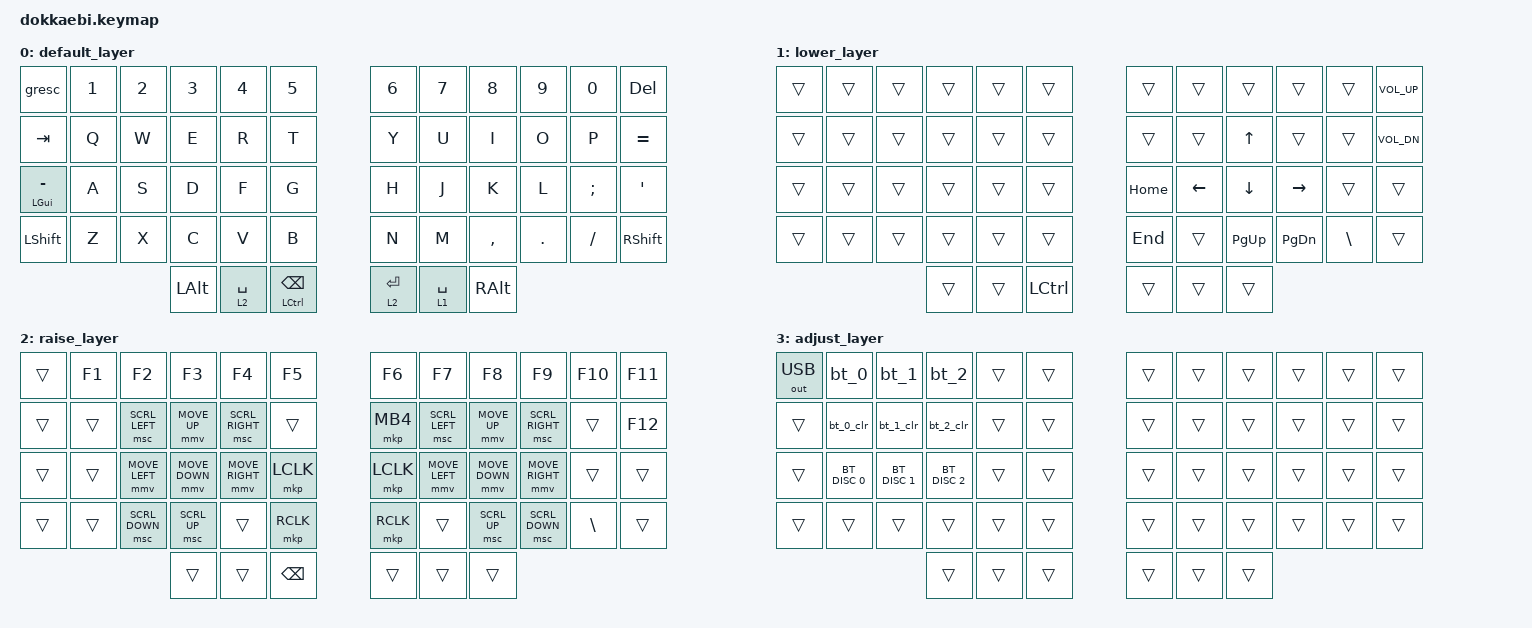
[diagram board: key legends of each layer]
#include <behaviors.dtsi>
#include <dt-bindings/zmk/keys.h>
#include <dt-bindings/zmk/bt.h>
#include <dt-bindings/zmk/ext_power.h>
#include <dt-bindings/zmk/outputs.h>
#include <dt-bindings/zmk/pointing.h>

&mt {
    tapping-term-ms = <175>;
};

&lt {
    tapping-term-ms = <175>;
};

/ {
    combos {
        compatible = "zmk,combos";
        combo_lbrc {
            timeout-ms = <50>;
            key-positions = <24 25>;
            bindings = <&kp LBKT>;
        };
        combo_rbrc {
            timeout-ms = <50>;
            key-positions = <36 37>;
            bindings = <&kp RBKT>;
        };
        combo_home {
            timeout-ms = <50>;
            key-positions = <30 31>;
            bindings = <&kp HOME>;
        };
        combo_end {
            timeout-ms = <50>;
            key-positions = <42 43>;
            bindings = <&kp END>;
        };
        combo_pgup {
            timeout-ms = <50>;
            key-positions = <34 35>;
            bindings = <&kp PG_UP>;
        };
        combo_pgdn {
            timeout-ms = <50>;
            key-positions = <46 47>;
            bindings = <&kp PG_DN>;
        };
        combo_lt2 {
            timeout-ms = <50>;
            key-positions = <48 49 50>;
            bindings = <&mo 3>;
        };
    };

    behaviors {
        gresc: grave_escape {
            compatible = "zmk,behavior-mod-morph";
            label = "GRAVE_ESCAPE";
            #binding-cells = <0>;
            bindings = <&kp ESC>, <&kp GRAVE>;
            mods = <(MOD_LGUI|MOD_LSFT|MOD_RGUI|MOD_RSFT|MOD_RALT)>;
            keep-mods = <(MOD_RSFT)>;
        };
        td_ralt_to1: tap_dance_ralt_to_layer_1 {
            compatible = "zmk,behavior-tap-dance";
            label = "TAP_DANCE_RALT_TO_LAYER_1";
            #binding-cells = <0>;
            tapping-term-ms = <150>;
            bindings = <&kp RALT>, <&to 1>;
        };
        td_rctrl_to0: tap_dance_rctrl_to_layer_0 {
            compatible = "zmk,behavior-tap-dance";
            label = "TAP_DANCE_RCTRL_TO_LAYER_0";
            #binding-cells = <0>;
            tapping-term-ms = <150>;
            bindings = <&kp RCTL>, <&to 0>;
        };
        ht_tp: holdtap_tappreferred {
            compatible = "zmk,behavior-hold-tap";
            #binding-cells = <2>;
            flavor = "tap-preferred";
            tapping-term-ms = <175>;
            quick-tap-ms = <155>;
            bindings = <&kp>, <&kp>;
        };
        ht_hp: holdtap_holdpreferred {
            compatible = "zmk,behavior-hold-tap";
            #binding-cells = <2>;
            flavor = "hold-preferred";
            tapping-term-ms = <175>;
            quick-tap-ms = <155>;
            bindings = <&kp>, <&kp>;
        };
        ht_bl: holdtap_balanced {
            compatible = "zmk,behavior-hold-tap";
            #binding-cells = <2>;
            flavor = "balanced";
            tapping-term-ms = <175>;
            quick-tap-ms = <155>;
            bindings = <&kp>, <&kp>;
        };
    };

    macros {
        bt_0: bt_profile_macro_0 {
            label = "BT_0";
            compatible = "zmk,behavior-macro";
            #binding-cells = <0>;
            bindings
                = <&out OUT_BLE>
                , <&bt BT_SEL 0>;
        };

        bt_1: bt_profile_macro_1 {
            label = "BT_1";
            compatible = "zmk,behavior-macro";
            #binding-cells = <0>;
            bindings
                = <&out OUT_BLE>
                , <&bt BT_SEL 1>;
        };
        
        bt_2: bt_profile_macro_2 {
            label = "BT_2";
            compatible = "zmk,behavior-macro";
            #binding-cells = <0>;
            bindings
                = <&out OUT_BLE>
                , <&bt BT_SEL 2>;
        };

        select_usb: usb_profile_macro {
            label = "SELECT_USB";
            compatible = "zmk,behavior-macro";
            #binding-cells = <0>;
            bindings
                = <&out OUT_USB>
                , <&macro_wait_time 1000>
                , <&bt BT_DISC 0>
                , <&macro_wait_time 1000>
                , <&bt BT_DISC 1>
                , <&macro_wait_time 1000>
                , <&bt BT_DISC 2>;
        };

        bt_0_clr: bt_profile_macro_0_clr {
            label = "BT_0_CLR";
            compatible = "zmk,behavior-macro";
            #binding-cells = <0>;
            bindings
                = <&out OUT_BLE>
                , <&bt BT_SEL 0>
                , <&macro_wait_time 1000>
                , <&bt BT_CLR>;
        };

        bt_1_clr: bt_profile_macro_1_clr {
            label = "BT_1_CLR";
            compatible = "zmk,behavior-macro";
            #binding-cells = <0>;
            bindings
                = <&out OUT_BLE>
                , <&bt BT_SEL 1>
                , <&macro_wait_time 1000>
                , <&bt BT_CLR>;
        };

        bt_2_clr: bt_profile_macro_2_clr {
            label = "BT_2_CLR";
            compatible = "zmk,behavior-macro";
            #binding-cells = <0>;
            bindings
                = <&out OUT_BLE>
                , <&bt BT_SEL 2>
                , <&macro_wait_time 1000>
                , <&bt BT_CLR>;
        };
    };

    conditional_layers {
        compatible = "zmk,conditional-layers";
        tri_layer {
            if-layers = <1 2>;
            then-layer = <3>;
        };
    };

    keymap {
        compatible = "zmk,keymap";

        default_layer {
            bindings = <
&gresc          &kp N1 &kp N2 &kp N3   &kp N4   &kp N5                        &kp N6 &kp N7   &kp N8    &kp N9  &kp N0   &kp DEL
&kp TAB         &kp Q  &kp W  &kp E    &kp R    &kp T                         &kp Y  &kp U    &kp I     &kp O   &kp P    &kp EQUAL
&mt LGUI MINUS  &kp A  &kp S  &kp D    &kp F    &kp G                         &kp H  &kp J    &kp K     &kp L   &kp SEMI &kp SQT
&kp LSHFT       &kp Z  &kp X  &kp C    &kp V    &kp B                         &kp N  &kp M    &kp COMMA &kp DOT &kp FSLH &kp RSHFT
                           &kp LALT &lt 2 SPACE &ht_hp LCTRL BSPC           &lt 2 ENTER  &lt 1 SPACE  &kp RALT
            >;

        };

        lower_layer {
            bindings = <
&trans     &trans     &trans     &trans     &trans     &trans                 &trans     &trans     &trans     &trans     &trans     &kp C_VOL_UP
&trans     &trans     &trans     &trans     &trans     &trans                 &trans     &trans     &kp UP     &trans     &trans     &kp C_VOL_DN
&trans     &trans     &trans     &trans     &trans     &trans                 &kp HOME   &kp LEFT   &kp DOWN   &kp RIGHT  &trans     &trans
&trans     &trans     &trans     &trans     &trans     &trans                 &kp END    &trans     &kp PG_UP  &kp PG_DN  &kp BSLH   &trans
                                 &trans     &trans     &kp LCTRL              &trans     &trans     &trans
            >;

        };

        raise_layer {
            bindings = <
&trans        &kp F1        &kp F2         &kp F3           &kp F4            &kp F5                       &kp F6     &kp F7     &kp F8     &kp F9     &kp F10    &kp F11
&trans        &trans        &msc SCRL_LEFT &mmv MOVE_UP     &msc SCRL_RIGHT   &trans                       &mkp MB4  &msc SCRL_LEFT   &mmv MOVE_UP   &msc SCRL_RIGHT     &trans     &kp F12
&trans        &trans        &mmv MOVE_LEFT &mmv MOVE_DOWN &mmv MOVE_RIGHT     &mkp LCLK                    &mkp LCLK  &mmv MOVE_LEFT &mmv MOVE_DOWN &mmv MOVE_RIGHT     &trans     &trans
&trans        &trans        &msc SCRL_DOWN   &msc SCRL_UP   &trans            &mkp RCLK                    &mkp RCLK  &trans   &msc SCRL_UP  &msc SCRL_DOWN     &kp BSLH   &trans
                                           &trans           &trans            &kp BSPC                     &trans     &trans     &trans
            >;

        };

        adjust_layer {
            bindings = <
&out OUT_USB   &bt_0         &bt_1         &bt_2         &trans        &trans                       &trans     &trans     &trans     &trans     &trans     &trans
&trans        &bt_0_clr     &bt_1_clr     &bt_2_clr     &trans        &trans                       &trans     &trans     &trans     &trans     &trans     &trans
&trans        &bt BT_DISC 0        &bt BT_DISC 1        &bt BT_DISC 2        &trans        &trans                       &trans     &trans     &trans     &trans     &trans     &trans
&trans        &trans        &trans        &trans        &trans        &trans                       &trans     &trans     &trans     &trans     &trans     &trans
                                          &trans        &trans        &trans                       &trans     &trans     &trans
            >;

        };
        
    };
};
